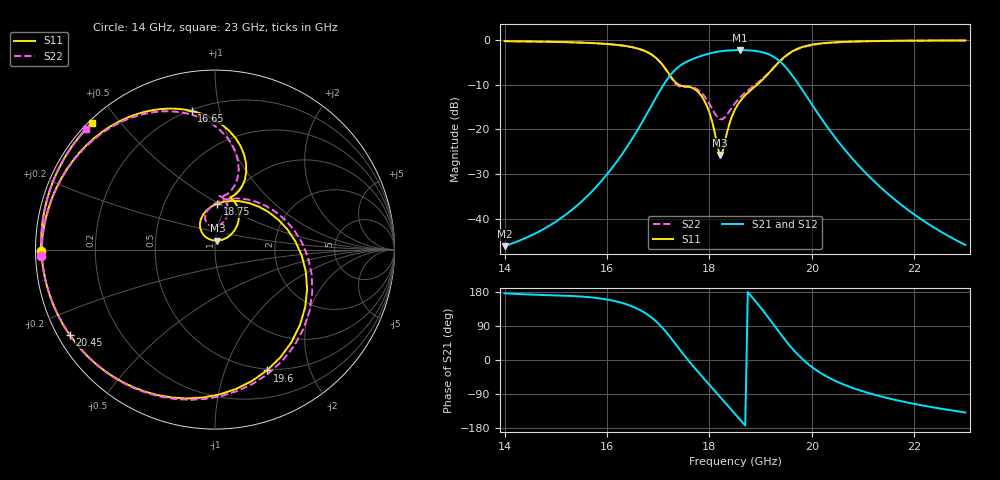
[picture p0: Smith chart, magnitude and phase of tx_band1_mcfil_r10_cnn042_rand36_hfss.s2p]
! Touchstone file exported from HFSS 3D Layout Design 2026.1.0
!  File:  D:/Work/SIM/ADS_AUTO_SIM/projects/RFSOC_RF/TX_Fillter.aedt
!  Generated:  11:41:58 PM Aug 30, 2026
!  Design:  TX_BAND1_MCFIL_R10_CNN042
!  Project:  TX_Fillter
# GHz S MA R 50.000000
! Terminal data exported
! Port[1] = Port1
! Port[2] = Port2
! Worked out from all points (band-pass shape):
!   181 points, 14 GHz to 23 GHz, reference 50 ohm
!   highest |S21| = -2.30 dB at 18.6 GHz (marker M1); lowest = -46.2 dB at 14 GHz (marker M2)
!   |S21| within 3 dB of the highest: 17.49 GHz to 19.42 GHz (1.928 GHz wide, 10.4 % of centre)
!   lowest |S11| = -25.8 dB at 18.2 GHz (marker M3), VSWR 1.11, Z = 51.1 + j5.09 ohm
!   |S11| at or under -10 dB: 17.39 GHz to 18.94 GHz (1.543 GHz wide, 8.5 % of centre)
!   |S22| runs from -17.8 to -0.1 dB; largest |S21 - S12| = 1.3e-14
!   S11 on the Smith chart (normalised r, x): 14 GHz: 0.02, -0.01; 16.65 GHz: 0.21, +0.83; 18.75 GHz: 0.90, +0.49; 19.6 GHz: 0.48, -1.41; 20.45 GHz: 0.03, -0.27; 23 GHz: 0.01, +0.42
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14  0.9671 -179.4  0.004908 176.0  0.004908 176.0  0.9677 -177.9
15.5  0.9307 145.8  0.01545 167.4  0.01545 167.4  0.932 148.3
16.1  0.8888 125.9  0.03692 157.1  0.03692 157.1  0.8906 129.0
16.65  0.7832 99.5  0.1102 131.5  0.1102 131.5  0.7848 103.4
17  0.5959 76.3  0.2494 96.7  0.2494 96.7  0.5938 80.9
17.3  0.3531 67.8  0.4426 48.9  0.4426 48.9  0.3425 74.6
17.65  0.2927 69.6  0.6023 -11.1  0.6023 -11.1  0.2972 83.4
17.95  0.1822 47.4  0.6905 -57.9  0.6905 -57.9  0.2139 70.6
18.2  0.0514 75.4  0.7419 -96.3  0.7419 -96.3  0.1297 87.0
18.5  0.1661 120.4  0.7665 -142.2  0.7665 -142.2  0.1948 106.1
18.6  0.2059 108.8  0.7675 -157.5  0.7675 -157.5  0.2269 99.6
18.75  0.2557 87.5  0.7634 179.2  0.7634 179.2  0.2707 84.4
18.95  0.3216 53.7  0.7434 146.9  0.7434 146.9  0.3325 57.1
19.2  0.45 5.9  0.672 103.4  0.672 103.4  0.4534 14.1
19.4  0.5958 -32.5  0.5582 67.1  0.5582 67.1  0.5914 -23.6
19.6  0.7329 -66.7  0.4133 33.1  0.4133 33.1  0.7238 -58.7
19.8  0.8267 -94.6  0.2832 4.5  0.2832 4.5  0.8169 -87.6
20  0.8821 -116.2  0.1896 -18.4  0.1896 -18.4  0.8734 -110.2
20.45  0.9387 -149.6  0.08149 -54.4  0.08149 -54.4  0.9334 -145.1
20.9  0.961 -171.4  0.04004 -78.4  0.04004 -78.4  0.958 -167.7
21.5  0.9744 168.1  0.01863 -101.2  0.01863 -101.2  0.9728 171.2
23  0.9843 134.3  0.005061 -138.5  0.005061 -138.5  0.9839 136.9
